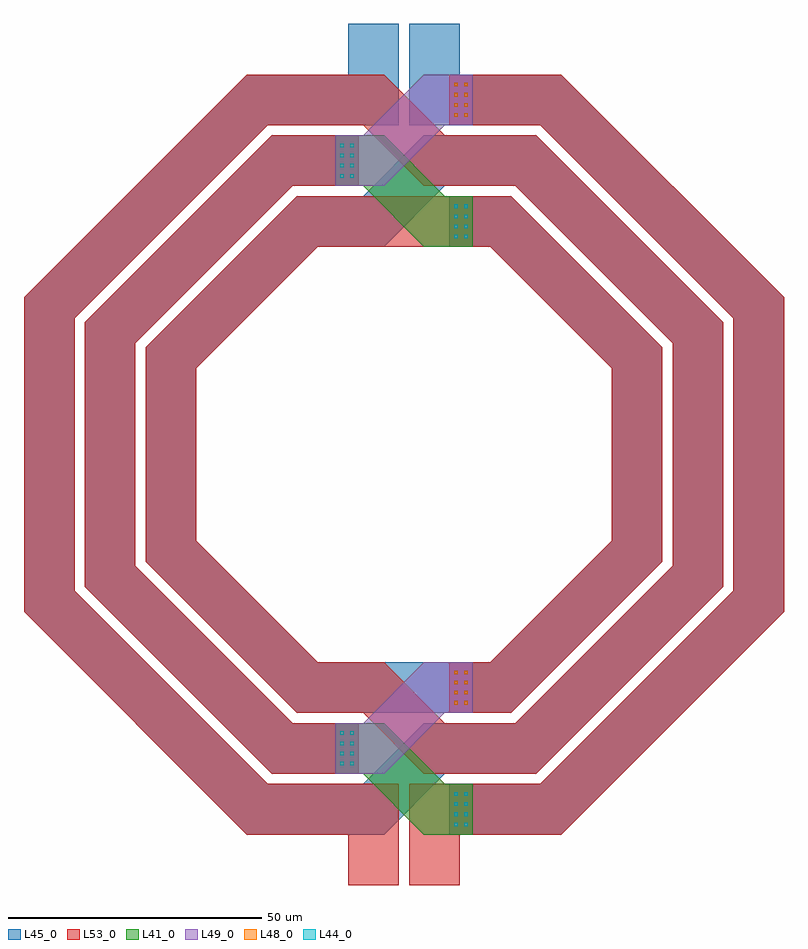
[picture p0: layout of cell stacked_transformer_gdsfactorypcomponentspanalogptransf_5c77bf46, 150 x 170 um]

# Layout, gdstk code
import gdstk
lib = gdstk.Library(unit=1e-6, precision=1e-09)
def R(c, l, rs):  # rectangles x0, y0, x1, y1
    for r in rs: c.add(gdstk.rectangle(r[:2], r[2:], *l))
def P(c, l, *ps):  # polygons
    for p in ps: c.add(gdstk.Polygon(p, *l))
L41_0 = (41, 0)
L44_0 = (44, 0)
L45_0 = (45, 0)
L48_0 = (48, 0)
L49_0 = (49, 0)
L53_0 = (53, 0)

via3_s0p7_0p7_e1_p2 = lib.new_cell('via3_S0p7_0p7_E1_P2')
R(via3_s0p7_0p7_e1_p2, L48_0, [(-0.35,-0.35,0.35,0.35)])

via_gdsfactorypcomponent = lib.new_cell('via_gdsfactorypcomponentspviaspvia_S0p7_0p7_E1_LVIA1_BL_0068d91e')
R(via_gdsfactorypcomponent, L44_0, [(-0.35,-0.35,0.35,0.35)])

stacked_transformer_gdsf = lib.new_cell('stacked_transformer_gdsfactorypcomponentspanalogptransf_5c77bf46')
P(stacked_transformer_gdsf, L41_0, [(3.929,-75),(-8.071,-63),(-8.899,-63),(-13.599,-63),(-13.599,-53),(-8.899,-53),(-3.929,-53),(8.071,-65),(8.899,-65),(13.599,-65),(13.599,-75),(8.899,-75)],
  [(3.929,41),(-8.071,53),(-8.899,53),(-13.599,53),(-13.599,63),(-8.899,63),(-3.929,63),(8.071,51),(8.899,51),(13.599,51),(13.599,41),(8.899,41)])
P(stacked_transformer_gdsf, L45_0, [(-31.066,-75),(-75,-31.066),(-75,31.066),(-31.066,75),(-8.899,75),(-8.899,65),(-26.924,65),(-65,26.924),(-65,-26.924),(-26.924,-65),(-8.899,-65),(-8.899,-75)],
  [(8.899,-75),(8.899,-65),(26.924,-65),(65,-26.924),(65,26.924),(26.924,65),(8.899,65),(8.899,75),(31.066,75),(75,31.066),(75,-31.066),(31.066,-75)],
  [(-8.899,-75),(-8.899,-65),(-8.071,-65),(3.929,-53),(8.899,-53),(8.899,-63),(8.071,-63),(-3.929,-75)],
  [(-26.095,-63),(-63,-26.095),(-63,26.095),(-26.095,63),(-8.899,63),(-8.899,53),(-21.953,53),(-53,21.953),(-53,-21.953),(-21.953,-53),(-8.899,-53),(-8.899,-63)],
  [(8.899,-63),(8.899,-53),(21.953,-53),(53,-21.953),(53,21.953),(21.953,53),(8.899,53),(8.899,63),(26.095,63),(63,26.095),(63,-26.095),(26.095,-63)],
  [(-8.899,41),(-8.899,51),(-8.071,51),(3.929,63),(8.899,63),(8.899,53),(8.071,53),(-3.929,41)],
  [(-21.125,-51),(-51,-21.125),(-51,21.125),(-21.125,51),(-8.899,51),(-8.899,41),(-16.983,41),(-41,16.983),(-41,-16.983),(-16.983,-41),(0,-41),(0,-51)],
  [(0,-51),(0,-41),(16.983,-41),(41,-16.983),(41,16.983),(16.983,41),(8.899,41),(8.899,51),(21.125,51),(51,21.125),(51,-21.125),(21.125,-51)],
  [(-8.899,65),(-8.899,75),(-11,75),(-11,85),(-1,85),(-1,65)],
  [(1,65),(1,85),(11,85),(11,75),(8.899,75),(8.899,65)])
P(stacked_transformer_gdsf, L49_0, [(-13.599,53),(-13.599,63),(-8.899,63),(-8.071,63),(3.929,75),(8.899,75),(13.599,75),(13.599,65),(8.899,65),(8.071,65),(-3.929,53),(-8.899,53)],
  [(-13.599,-63),(-13.599,-53),(-8.899,-53),(-8.071,-53),(3.929,-41),(8.899,-41),(13.599,-41),(13.599,-51),(8.899,-51),(8.071,-51),(-3.929,-63),(-8.899,-63)])
P(stacked_transformer_gdsf, L53_0, [(-31.066,-75),(-75,-31.066),(-75,31.066),(-31.066,75),(-8.899,75),(-8.899,65),(-26.924,65),(-65,26.924),(-65,-26.924),(-26.924,-65),(-8.899,-65),(-8.899,-75)],
  [(8.899,-75),(8.899,-65),(26.924,-65),(65,-26.924),(65,26.924),(26.924,65),(8.899,65),(8.899,75),(31.066,75),(75,31.066),(75,-31.066),(31.066,-75)],
  [(3.929,53),(-8.071,65),(-8.899,65),(-8.899,75),(-3.929,75),(8.071,63),(8.899,63),(8.899,53)],
  [(-26.095,-63),(-63,-26.095),(-63,26.095),(-26.095,63),(-8.899,63),(-8.899,53),(-21.953,53),(-53,21.953),(-53,-21.953),(-21.953,-53),(-8.899,-53),(-8.899,-63)],
  [(8.899,-63),(8.899,-53),(21.953,-53),(53,-21.953),(53,21.953),(21.953,53),(8.899,53),(8.899,63),(26.095,63),(63,26.095),(63,-26.095),(26.095,-63)],
  [(3.929,-63),(-8.071,-51),(-8.899,-51),(-8.899,-41),(-3.929,-41),(8.071,-53),(8.899,-53),(8.899,-63)],
  [(-21.125,-51),(-51,-21.125),(-51,21.125),(-21.125,51),(0,51),(0,41),(-16.983,41),(-41,16.983),(-41,-16.983),(-16.983,-41),(-8.899,-41),(-8.899,-51)],
  [(8.899,-51),(8.899,-41),(16.983,-41),(41,-16.983),(41,16.983),(16.983,41),(0,41),(0,51),(21.125,51),(51,21.125),(51,-21.125),(21.125,-51)],
  [(-11,-85),(-11,-75),(-8.899,-75),(-8.899,-65),(-1,-65),(-1,-85)],
  [(1,-85),(1,-65),(8.899,-65),(8.899,-75),(11,-75),(11,-85)])
r = gdstk.Reference(via3_s0p7_0p7_e1_p2, (-12.249,55)); r.repetition = gdstk.Repetition(2, 4, v1=(2,0), v2=(0,2)); stacked_transformer_gdsf.add(r)
r = gdstk.Reference(via3_s0p7_0p7_e1_p2, (10.249,67)); r.repetition = gdstk.Repetition(2, 4, v1=(2,0), v2=(0,2)); stacked_transformer_gdsf.add(r)
r = gdstk.Reference(via3_s0p7_0p7_e1_p2, (-12.249,-61)); r.repetition = gdstk.Repetition(2, 4, v1=(2,0), v2=(0,2)); stacked_transformer_gdsf.add(r)
r = gdstk.Reference(via3_s0p7_0p7_e1_p2, (10.249,-49)); r.repetition = gdstk.Repetition(2, 4, v1=(2,0), v2=(0,2)); stacked_transformer_gdsf.add(r)
r = gdstk.Reference(via_gdsfactorypcomponent, (-12.249,-61)); r.repetition = gdstk.Repetition(2, 4, v1=(2,0), v2=(0,2)); stacked_transformer_gdsf.add(r)
r = gdstk.Reference(via_gdsfactorypcomponent, (10.249,-73)); r.repetition = gdstk.Repetition(2, 4, v1=(2,0), v2=(0,2)); stacked_transformer_gdsf.add(r)
r = gdstk.Reference(via_gdsfactorypcomponent, (-12.249,55)); r.repetition = gdstk.Repetition(2, 4, v1=(2,0), v2=(0,2)); stacked_transformer_gdsf.add(r)
r = gdstk.Reference(via_gdsfactorypcomponent, (10.249,43)); r.repetition = gdstk.Repetition(2, 4, v1=(2,0), v2=(0,2)); stacked_transformer_gdsf.add(r)

lib.write_gds('stacked_transformer_gdsfactorypcomponentspanalogptransf_5c77bf46.gds')
